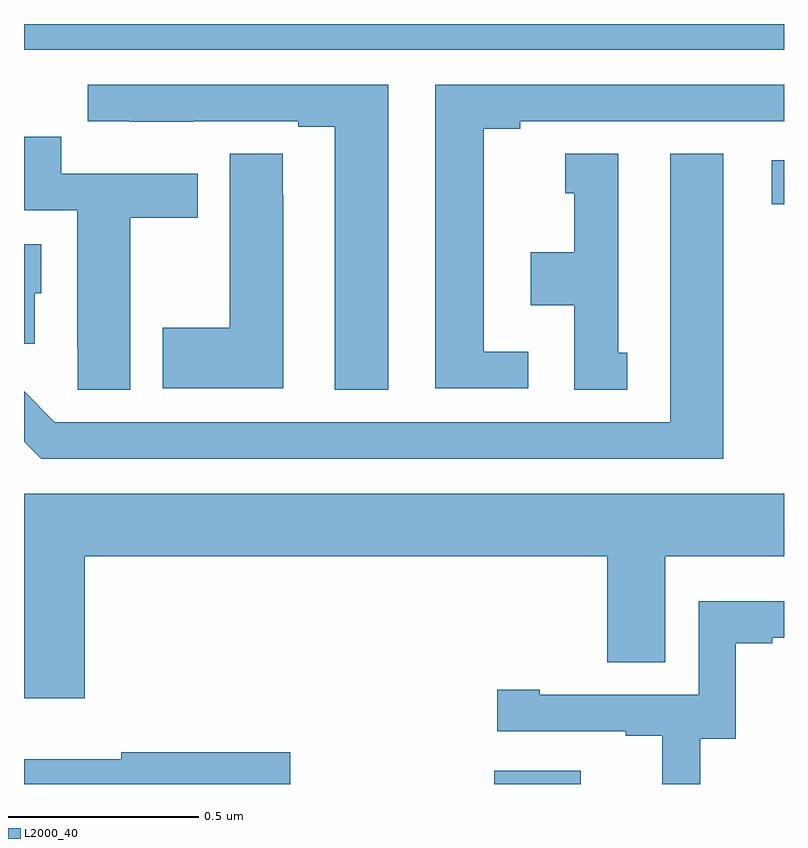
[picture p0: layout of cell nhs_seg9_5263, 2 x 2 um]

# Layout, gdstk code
import gdstk
lib = gdstk.Library(unit=1e-6, precision=1e-09)
def R(c, l, rs):  # rectangles x0, y0, x1, y1
    for r in rs: c.add(gdstk.rectangle(r[:2], r[2:], *l))
def P(c, l, *ps):  # polygons
    for p in ps: c.add(gdstk.Polygon(p, *l))
L2000_40 = (2000, 40)

nhs_seg9_5263 = lib.new_cell('nhs_seg9_5263')
R(nhs_seg9_5263, L2000_40, [(178.238,1182.5,178.465,1182.535), (178.968,1184.026,179,1184.142), (177,1184.432,179,1184.5)])
P(nhs_seg9_5263, L2000_40, [(178.327,1183.638),(178.21,1183.638),(178.21,1184.224),(178.306,1184.224),(178.306,1184.244),(179,1184.244),(179,1184.34),(178.082,1184.34),(178.082,1183.542),(178.327,1183.542)],
  [(177.958,1184.34),(177.168,1184.34),(177.168,1184.244),(177.28,1184.244),(177.28,1184.243),(177.446,1184.243),(177.446,1184.244),(177.722,1184.244),(177.722,1184.229),(177.818,1184.229),(177.818,1183.537),(177.958,1183.537)],
  [(177.28,1183.99),(177.457,1183.99),(177.457,1184.106),(177.098,1184.106),(177.098,1184.203),(177,1184.203),(177,1184.01),(177.14,1184.01),(177.14,1183.648),(177.141,1183.648),(177.141,1183.537),(177.28,1183.537)],
  [(177.682,1184.051),(177.681,1184.051),(177.681,1184.159),(177.542,1184.159),(177.542,1183.701),(177.365,1183.701),(177.365,1183.541),(177.682,1183.541)],
  [(178.588,1183.635),(178.564,1183.635),(178.564,1184.158),(178.424,1184.158),(178.424,1184.055),(178.448,1184.055),(178.448,1183.9),(178.334,1183.9),(178.334,1183.76),(178.448,1183.76),(178.448,1183.537),(178.588,1183.537)],
  [(178.84,1184.158),(178.7,1184.158),(178.7,1183.452),(177.081,1183.452),(177,1183.533),(177,1183.401),(177.045,1183.356),(178.84,1183.356)],
  [(177.028,1183.791),(177.046,1183.791),(177.046,1183.921),(177,1183.921),(177,1183.658),(177.028,1183.658)],
  [(177,1182.726),(177.16,1182.726),(177.16,1183.1),(178.535,1183.1),(178.535,1182.82),(178.687,1182.82),(178.687,1183.1),(179,1183.1),(179,1183.264),(177,1183.264)],
  [(178.779,1182.619),(178.873,1182.619),(178.873,1182.87),(178.969,1182.87),(178.969,1182.885),(179,1182.885),(179,1182.981),(178.776,1182.981),(178.776,1182.735),(178.357,1182.735),(178.357,1182.748),(178.245,1182.748),(178.245,1182.639),(178.583,1182.639),(178.583,1182.627),(178.679,1182.627),(178.679,1182.5),(178.779,1182.5)],
  [(177.701,1182.584),(177.256,1182.584),(177.256,1182.565),(177,1182.565),(177,1182.5),(177.701,1182.5)])

lib.write_gds('nhs_seg9_5263.gds')
